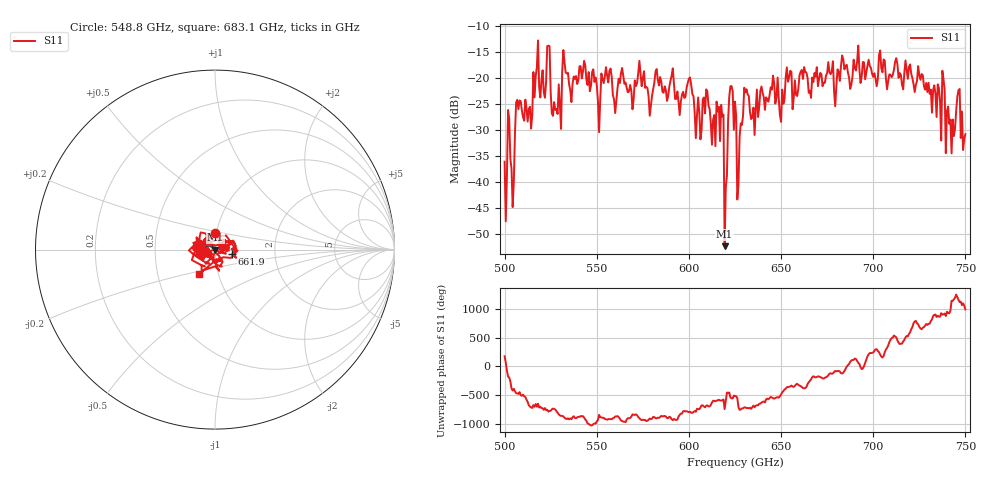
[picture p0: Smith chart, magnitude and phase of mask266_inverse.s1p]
!Created with skrf (http://scikit-rf.org).
# GHz S MA R 50.0
!freq magS11 angS11
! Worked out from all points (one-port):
!   401 points, 500 GHz to 750 GHz, reference 50 ohm
!   lowest |S11| = -52.3 dB at 619.4 GHz (marker M1), VSWR 1.00, Z = 50.2 - j0.091 ohm
!   |S11| at or under -10 dB: start of sweep to end of sweep
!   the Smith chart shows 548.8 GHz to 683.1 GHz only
!   S11 on the Smith chart (normalised r, x): 548.8 GHz: 0.99, +0.18; 661.9 GHz: 1.21, -0.06; 683.1 GHz: 0.80, -0.23
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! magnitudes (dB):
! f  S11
! 500 GHz  -36.1
! 502.5 GHz  -27.9
! 504.4 GHz  -44.8
! 507.5 GHz  -26.0
! 513.8 GHz  -25.5
! 516.9 GHz  -19.7
! 523.8 GHz  -13.8
! 526.9 GHz  -24.7
! 531.2 GHz  -18.7
! 548.8 GHz  -20.8
! 562.5 GHz  -21.0
! 593.8 GHz  -22.6
! 616.2 GHz  -25.5
! 619.4 GHz  -52.3
! 620.6 GHz  -38.7
! 622.5 GHz  -21.6
! 625 GHz  -24.6
! 627.5 GHz  -31.3
! 631.2 GHz  -22.2
! 634.4 GHz  -27.6
! 656.2 GHz  -26.0
! 661.9 GHz  -20.2
! 683.1 GHz  -15.7
! 687.5 GHz  -22.1
! 718.8 GHz  -20.2
! 743.1 GHz  -28.0
! 746.9 GHz  -22.1
! 750 GHz  -30.8
